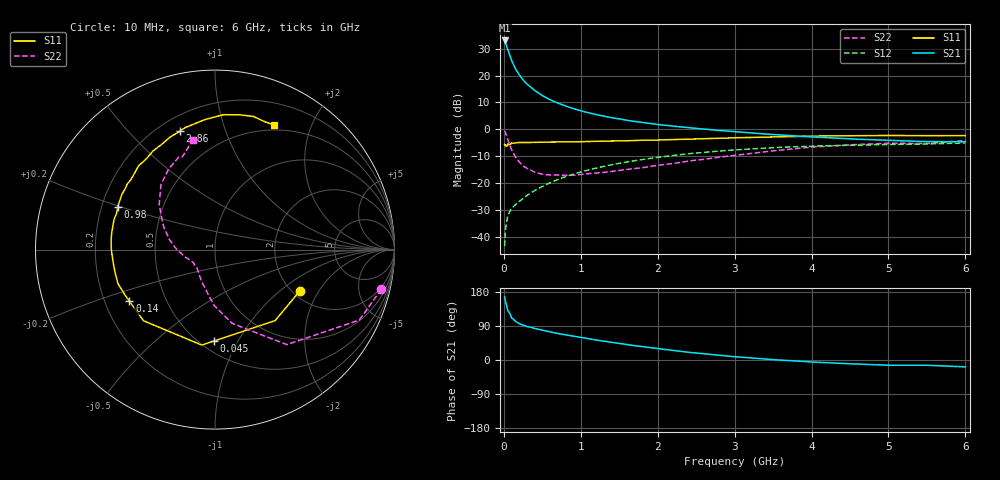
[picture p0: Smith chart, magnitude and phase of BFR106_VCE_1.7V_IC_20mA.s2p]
! Infineon Technologies  Discrete & RF Semiconductors
! BFR106
! VCE =  1.7 V,  IC =  20 mA
! Common Emitter S-Parameters:  Nov 2015
# GHz  S  MA  R  50
!  f  S11  S21  S12  S22
! GHz  MAG  ANG  MAG  ANG  MAG  ANG  MAG  ANG
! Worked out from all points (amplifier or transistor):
!   210 points, 10 MHz to 6 GHz, reference 50 ohm
!   highest |S21| = 33.0 dB at 10 MHz (marker M1)
!   |S21| within 3 dB of that: start of sweep to 46.08 MHz
!   unconditionally stable (mu >= 1): 363.4 MHz to 2.572 GHz; 4.768 GHz to end of sweep
!   at 185 MHz: K = 0.78, MSG = 24.0 dB, |S12| = -27.1 dB
!   at 1.52 GHz: K = 1.07, MAG = 6.5 dB, |S12| = -12.5 dB
!   at 6 GHz: K = 1.02, MAG = -0.6 dB, |S12| = -5.0 dB
!   S11 on the Smith chart (normalised r, x): 10 MHz: 2.17, -1.39; 45 MHz: 0.58, -0.80; 140 MHz: 0.30, -0.25; 980 MHz: 0.27, +0.19; 2.86 GHz: 0.28, +0.71; 6 GHz: 0.44, +1.49
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0.01  0.525 -26.2  44.81 166.5  0.0068 81.1  0.9525 -13.4
0.02  0.5185 -49.7  41.87 155.4  0.0129 71.4  0.8952 -26.0
0.045  0.5092 -90.6  32.02 135.9  0.0227 57.3  0.6893 -47.3
0.05  0.537 -97.9  30.66 130.7  0.0247 55.8  0.6635 -52.9
0.1  0.562 -135.1  19.05 111.5  0.0341 50.2  0.4225 -76.8
0.14  0.5572 -148.9  14.45 104.3  0.0388 50.9  0.3311 -87.4
0.15  0.5611 -152.3  13.35 101.7  0.04 51.1  0.3107 -91.0
0.2  0.5728 -160.7  10.29 96.0  0.046 54.0  0.2482 -99.3
0.24  0.5712 -165.9  8.675 92.6  0.051 55.6  0.2171 -105.8
0.3  0.5717 -172.0  6.949 88.5  0.0596 58.6  0.1899 -113.7
0.4  0.5768 -179.3  5.284 83.2  0.073 61.4  0.1615 -123.9
0.5  0.5807 175.9  4.246 78.5  0.0871 63.1  0.1473 -131.3
0.6  0.5832 170.8  3.566 74.0  0.1023 63.5  0.1425 -136.4
0.98  0.5909 156.5  2.26 60.1  0.1589 62.0  0.1446 -152.1
1.02  0.5936 155.0  2.179 58.7  0.1649 61.7  0.1466 -153.3
1.4  0.6101 143.2  1.648 46.8  0.2207 57.3  0.1663 -164.1
2.02  0.636 126.4  1.226 29.8  0.3054 48.4  0.2172 178.6
2.86  0.6879 106.6  0.941 11.4  0.4027 34.9  0.3129 155.9
3.1  0.7039 101.7  0.883 7.2  0.4249 31.0  0.3421 149.9
4.1  0.7543 85.1  0.714 -6.1  0.4941 15.6  0.4782 127.8
5.1  0.7702 72.9  0.62 -13.8  0.5266 3.3  0.5531 110.9
6  0.7684 64.6  0.589 -18.2  0.5622 -6.0  0.6225 101.4
